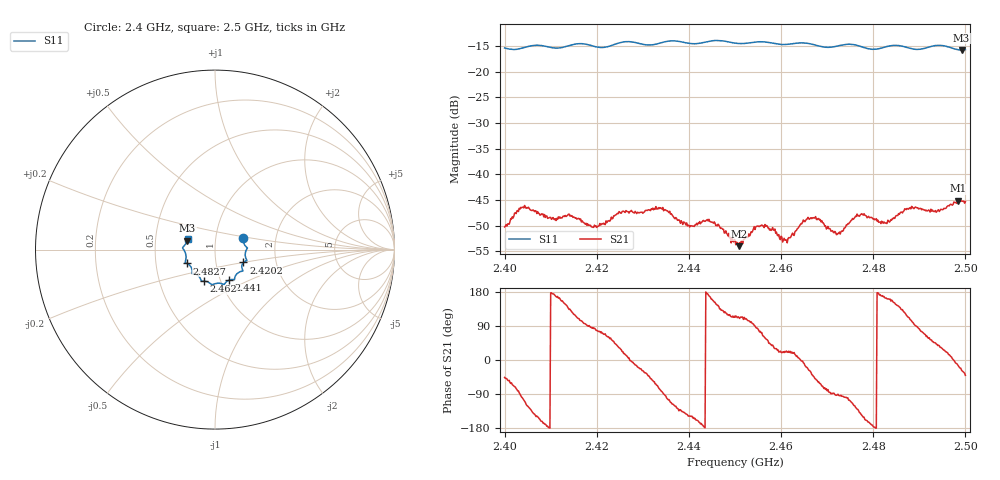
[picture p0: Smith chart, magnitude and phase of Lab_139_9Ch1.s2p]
# Hz S RI R 50
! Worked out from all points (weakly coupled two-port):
!   601 points, 2.4 GHz to 2.5 GHz, reference 50 ohm
!   highest |S21| = -45.18 dB at 2.4983 GHz (marker M1); lowest = -54.0 dB at 2.4508 GHz (marker M2)
!   lowest |S11| = -15.8 dB at 2.4992 GHz (marker M3), VSWR 1.39, Z = 36.4 + j3.7 ohm
!   |S11| at or under -10 dB: start of sweep to end of sweep
!   S12 and S22 are empty: the file has one direction only
!   S11 on the Smith chart (normalised r, x): 2.4 GHz: 1.36, +0.18; 2.4202 GHz: 1.36, -0.20; 2.441 GHz: 1.10, -0.39; 2.462 GHz: 0.84, -0.30; 2.4827 GHz: 0.72, -0.11; 2.5 GHz: 0.73, +0.09
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2.4e9  0.1582 0.0624  0.00213 -0.0022  0 0  0 0
2.404e9  0.1695 0.0199  -0.00104 -0.00465  0 0  0 0
2.416667e9  0.1773 -0.0607  -0.000801 0.00333  0 0  0 0
2.420167e9  0.1582 -0.0715  0.000709 0.00302  0 0  0 0
2.425333e9  0.155 -0.1152  0.00373 0.00187  0 0  0 0
2.433333e9  0.1116 -0.1511  0.00148 -0.00435  0 0  0 0
2.441e9  0.0784 -0.17  -0.00274 -0.00148  0 0  0 0
2.4445e9  0.0536 -0.191  -0.00338 0.000761  0 0  0 0
2.45e9  0.0281 -0.1877  -0.000878 0.0021  0 0  0 0
2.450833e9  0.0195 -0.187  -0.00075 0.00184  0 0  0 0
2.455333e9  -0.0138 -0.1951  0.000847 0.00298  0 0  0 0
2.462e9  -0.0606 -0.1758  0.00222 0.000933  0 0  0 0
2.466667e9  -0.0789 -0.1679  0.00289 -0.0023  0 0  0 0
2.472333e9  -0.1163 -0.1352  -1.18e-05 -0.00265  0 0  0 0
2.477e9  -0.127 -0.1243  -0.00292 -0.00256  0 0  0 0
2.482667e9  -0.1565 -0.077  -0.00321 0.000963  0 0  0 0
2.483333e9  -0.1608 -0.075  -0.00332 0.00113  0 0  0 0
2.487333e9  -0.1626 -0.0565  -0.00203 0.00416  0 0  0 0
2.493833e9  -0.1803 0.00836  0.00327 0.00286  0 0  0 0
2.498333e9  -0.1593 0.0385  0.00537 -0.00122  0 0  0 0
2.499167e9  -0.1547 0.0495  0.00488 -0.00248  0 0  0 0
2.5e9  -0.1522 0.0611  0.00411 -0.00352  0 0  0 0
